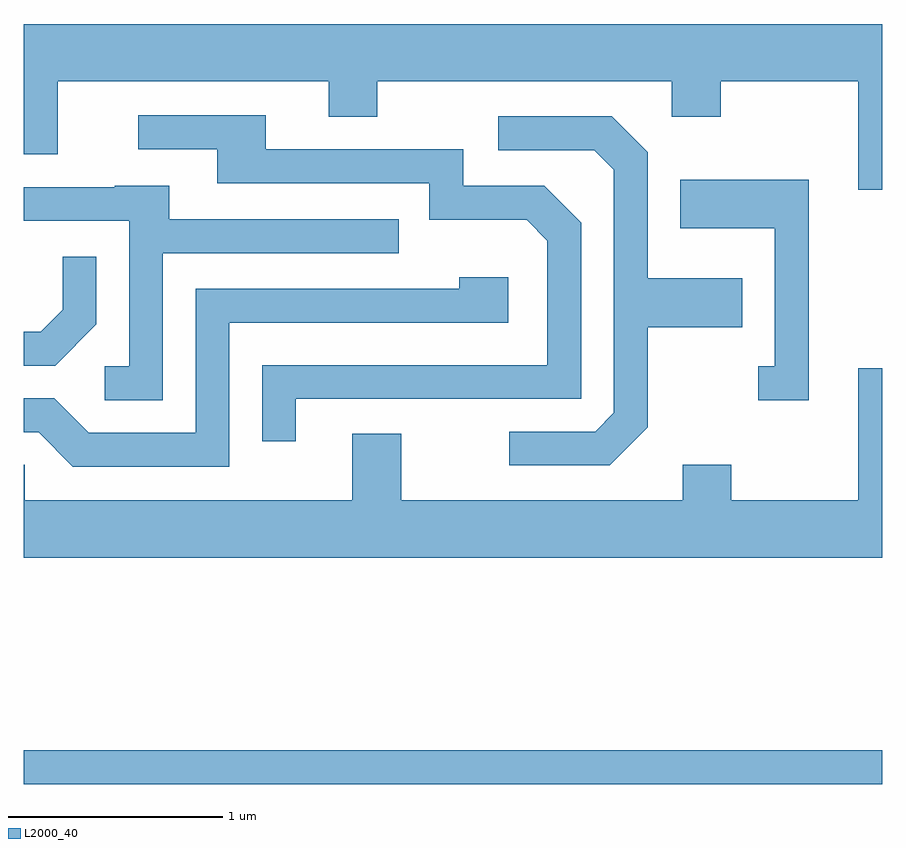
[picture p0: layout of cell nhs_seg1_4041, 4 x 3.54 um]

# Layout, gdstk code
import gdstk
lib = gdstk.Library(unit=1e-6, precision=1e-09)
def R(c, l, rs):  # rectangles x0, y0, x1, y1
    for r in rs: c.add(gdstk.rectangle(r[:2], r[2:], *l))
def P(c, l, *ps):  # polygons
    for p in ps: c.add(gdstk.Polygon(p, *l))
L2000_40 = (2000, 40)

nhs_seg1_4041 = lib.new_cell('nhs_seg1_4041')
R(nhs_seg1_4041, L2000_40, [(305.611,971.781,309.611,971.939)])
P(nhs_seg1_4041, L2000_40, [(309.611,975.324),(305.611,975.324),(305.611,974.716),(305.769,974.716),(305.769,975.056),(307.031,975.056),(307.031,974.891),(307.259,974.891),(307.259,975.056),(308.631,975.056),(308.631,974.891),(308.859,974.891),(308.859,975.056),(309.501,975.056),(309.501,974.551),(309.611,974.551)],
  [(306.879,973.576),(308.209,973.576),(308.209,974.397),(308.037,974.569),(307.659,974.569),(307.659,974.739),(306.739,974.739),(306.739,974.899),(306.143,974.899),(306.143,974.741),(306.511,974.741),(306.511,974.581),(307.501,974.581),(307.501,974.411),(307.954,974.411),(308.051,974.314),(308.051,973.734),(306.721,973.734),(306.721,973.378),(306.879,973.378)],
  [(308.519,973.444),(308.519,973.911),(308.959,973.911),(308.959,974.139),(308.519,974.139),(308.519,974.727),(308.352,974.894),(307.823,974.894),(307.823,974.736),(308.269,974.736),(308.361,974.644),(308.361,973.512),(308.274,973.424),(307.873,973.424),(307.873,973.266),(308.342,973.266)],
  [(309.269,974.599),(308.671,974.599),(308.671,974.371),(309.111,974.371),(309.111,973.729),(309.033,973.729),(309.033,973.571),(309.269,973.571)],
  [(306.259,974.256),(307.358,974.256),(307.358,974.414),(306.289,974.414),(306.289,974.569),(306.035,974.569),(306.035,974.564),(305.611,974.564),(305.611,974.406),(306.101,974.406),(306.101,973.729),(305.988,973.729),(305.988,973.571),(306.259,973.571)],
  [(305.949,973.924),(305.949,974.238),(305.791,974.238),(305.791,973.992),(305.689,973.889),(305.611,973.889),(305.611,973.731),(305.757,973.731)],
  [(306.569,973.931),(307.869,973.931),(307.869,974.144),(307.641,974.144),(307.641,974.089),(306.411,974.089),(306.411,973.419),(305.912,973.419),(305.752,973.579),(305.611,973.579),(305.611,973.421),(305.679,973.421),(305.839,973.261),(306.569,973.261)],
  [(309.611,973.719),(309.501,973.719),(309.501,973.104),(308.909,973.104),(308.909,973.269),(308.681,973.269),(308.681,973.104),(307.369,973.104),(307.369,973.414),(307.141,973.414),(307.141,973.104),(305.614,973.104),(305.614,973.269),(305.611,973.269),(305.611,972.836),(309.611,972.836)])

lib.write_gds('nhs_seg1_4041.gds')
